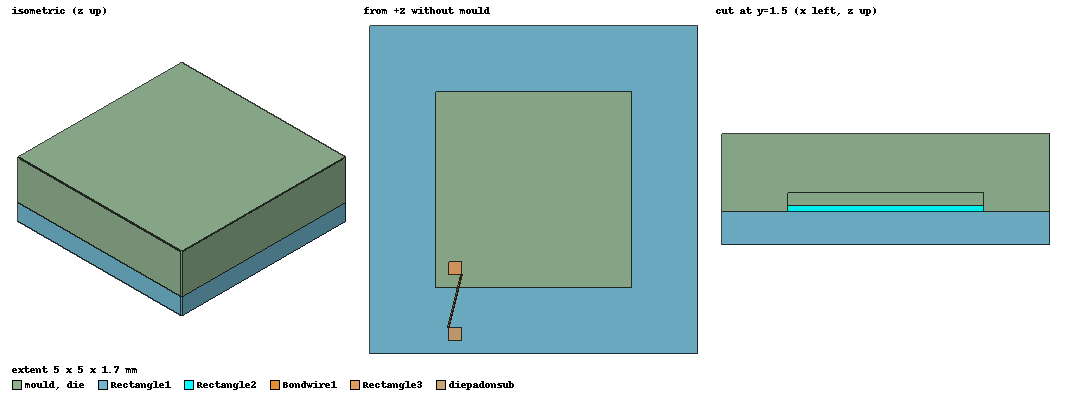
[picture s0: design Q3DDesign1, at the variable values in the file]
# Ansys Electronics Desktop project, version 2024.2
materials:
  vacuum: permittivity=1
  copper: permeability=0.999991 conductivity=58000000
  silicon: permittivity=11.9
  FR4_epoxy: permittivity=4.4 dielectric_loss_tangent=0.02
  modified_epoxy: permittivity=4.2 dielectric_loss_tangent=0.02
  gold: permeability=0.99996 conductivity=41000000
  epoxy_Kevlar_xy: permittivity=3.6

design Q3DDesign1 (Q3D Extractor, model units mm)
options: SParamCalcMethod=EqTransLine Calculate_Lossy_Dielectrics
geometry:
  die [silicon] = rectangle(corner=(0mm, 0mm, 0mm), x_size=3mm, y_size=3mm)
  die.thicken(0.2mm)
  Rectangle1 [FR4_epoxy] = rectangle(corner=(-1mm, -1mm, -0.1mm), x_size=5mm, y_size=5mm)
  Rectangle1.thicken(-0.5mm)
  Rectangle2 [modified_epoxy] = rectangle(corner=(0mm, 0mm, 0mm), x_size=3mm, y_size=3mm)
  Rectangle2.thicken(-0.1mm)
  Rectangle3 [copper] = rectangle(corner=(0.2mm, 0.2mm, 0.2mm), x_size=0.2mm, y_size=0.2mm)
  Rectangle3.thicken(0.005mm)
  diepadonsub [copper] = rectangle(corner=(0.2mm, -0.8mm, -0.1mm), x_size=0.2mm, y_size=0.2mm)
  diepadonsub.thicken(0.005mm)
  Bondwire1 [gold] = bondwire(WireType=JEDEC_4Points WireDiameter=0.025mm NumSides=6 XPadPos=0.4mm YPadPos=0.2mm ZPadPos=0.205mm XDir=-0.2mm YDir=-0.8mm ZDir=0mm Distance=0.82462113mm h1=0.2mm h2=0.305mm alpha=80deg beta=0 WhichAxis=Z)
  mould [epoxy_Kevlar_xy] = rectangle(corner=(-1mm, -1mm, -0.1mm), x_size=5mm, y_size=5mm)
  mould.thicken(1.2mm)
